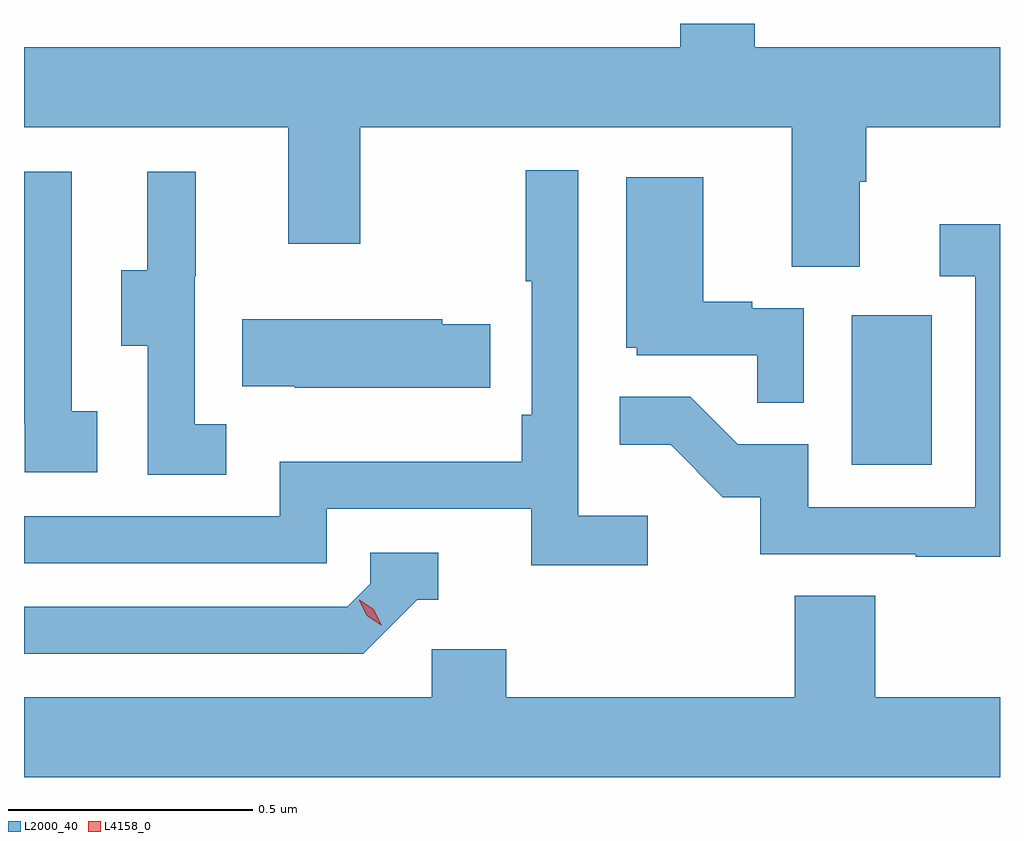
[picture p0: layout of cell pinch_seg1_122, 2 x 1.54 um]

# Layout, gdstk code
import gdstk
lib = gdstk.Library(unit=1e-6, precision=1e-09)
def R(c, l, rs):  # rectangles x0, y0, x1, y1
    for r in rs: c.add(gdstk.rectangle(r[:2], r[2:], *l))
def P(c, l, *ps):  # polygons
    for p in ps: c.add(gdstk.Polygon(p, *l))
L2000_40 = (2000, 40)
L4158_0 = (4158, 0)

pinch_seg1_122 = lib.new_cell('pinch_seg1_122')
R(pinch_seg1_122, L2000_40, [(1068.236,560.364,1068.4,560.671)])
P(pinch_seg1_122, L2000_40, [(1068.253,560.944),(1068.266,560.944),(1068.266,561.056),(1068.54,561.056),(1068.54,561.22),(1068.037,561.22),(1068.037,561.268),(1067.885,561.268),(1067.885,561.22),(1066.54,561.22),(1066.54,561.056),(1067.081,561.056),(1067.081,560.817),(1067.229,560.817),(1067.229,561.056),(1068.113,561.056),(1068.113,560.77),(1068.253,560.77)],
  [(1067.818,560.26),(1067.676,560.26),(1067.676,560.968),(1067.568,560.968),(1067.568,560.74),(1067.58,560.74),(1067.58,560.467),(1067.56,560.467),(1067.56,560.371),(1067.064,560.371),(1067.064,560.259),(1066.54,560.259),(1066.54,560.163),(1067.16,560.163),(1067.16,560.274),(1067.579,560.274),(1067.579,560.158),(1067.818,560.158)],
  [(1066.954,560.447),(1066.89,560.447),(1066.89,560.751),(1066.892,560.751),(1066.892,560.965),(1066.793,560.965),(1066.793,560.763),(1066.739,560.763),(1066.739,560.608),(1066.794,560.608),(1066.794,560.344),(1066.954,560.344)],
  [(1066.69,560.474),(1066.638,560.474),(1066.638,560.965),(1066.54,560.965),(1066.54,560.447),(1066.542,560.447),(1066.542,560.349),(1066.69,560.349)],
  [(1068.138,560.685),(1068.032,560.685),(1068.032,560.698),(1067.932,560.698),(1067.932,560.953),(1067.774,560.953),(1067.774,560.604),(1067.796,560.604),(1067.796,560.589),(1068.043,560.589),(1068.043,560.491),(1068.138,560.491)],
  [(1068.54,560.857),(1068.417,560.857),(1068.417,560.751),(1068.489,560.751),(1068.489,560.277),(1068.147,560.277),(1068.147,560.406),(1068.003,560.406),(1067.905,560.504),(1067.761,560.504),(1067.761,560.405),(1067.865,560.405),(1067.972,560.298),(1068.049,560.298),(1068.049,560.181),(1068.367,560.181),(1068.367,560.176),(1068.54,560.176)],
  [(1067.495,560.652),(1067.397,560.652),(1067.397,560.662),(1066.987,560.662),(1066.987,560.525),(1067.095,560.525),(1067.095,560.522),(1067.495,560.522)],
  [(1067.346,560.088),(1067.389,560.088),(1067.389,560.184),(1067.25,560.184),(1067.25,560.121),(1067.202,560.073),(1066.54,560.073),(1066.54,559.977),(1067.235,559.977)],
  [(1068.54,559.888),(1068.284,559.888),(1068.284,560.096),(1068.119,560.096),(1068.119,559.888),(1067.528,559.888),(1067.528,559.986),(1067.376,559.986),(1067.376,559.888),(1066.54,559.888),(1066.54,559.724),(1068.54,559.724)])
P(pinch_seg1_122, L4158_0, [(1067.272,560.035),(1067.242,560.055),(1067.227,560.087),(1067.227,560.088),(1067.227,560.088),(1067.257,560.068),(1067.273,560.035),(1067.273,560.035)])

lib.write_gds('pinch_seg1_122.gds')
